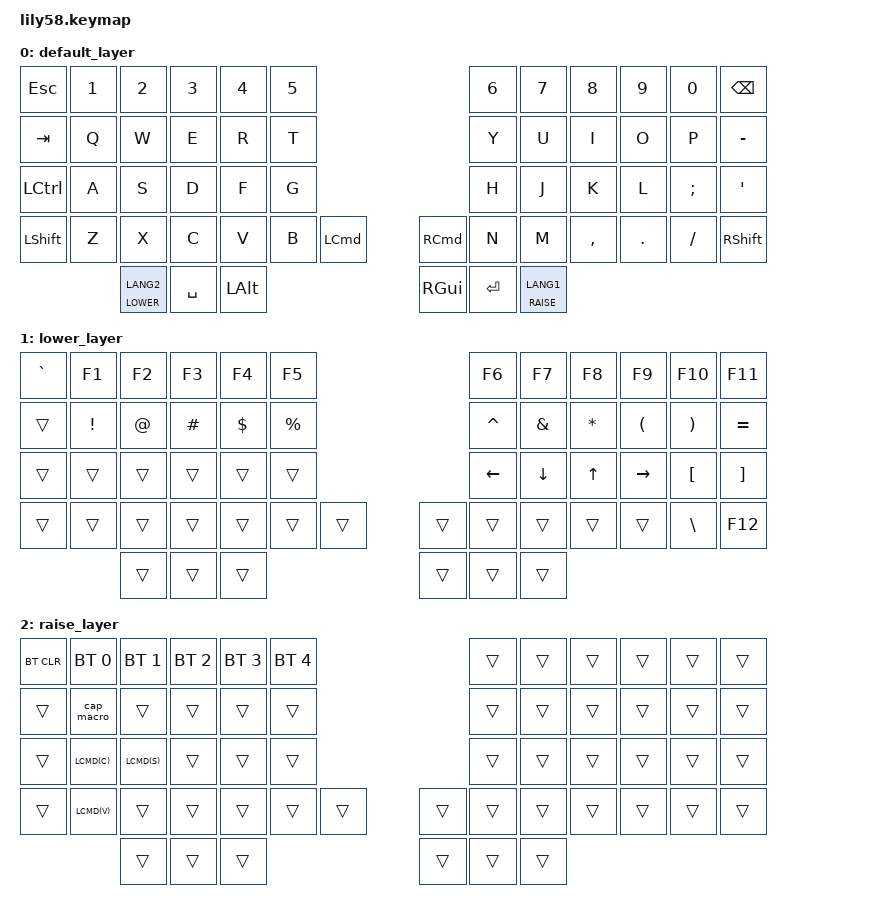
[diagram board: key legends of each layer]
/*
 * Copyright (c) 2026 The ZMK Contributors
 * SPDX-License-Identifier: MIT
 */

#include <behaviors.dtsi>
#include <dt-bindings/zmk/keys.h>
#include <dt-bindings/zmk/bt.h>

#define DEFAULT 0
#define LOWER   1
#define RAISE   2

/ {
    // 📸 マクロ：右親指(RAISE)＋Q で Macの「Ctrl + Cmd + Shift + 4」を発火
    macros {
        cap_macro: cap_macro {
            compatible = "zmk,behavior-macro";
            #binding-cells = <0>;
            bindings = <&macro_press &kp LCTRL &kp LCMD &kp LSHFT>,
                       <&macro_tap &kp N4>,
                       <&macro_release &kp LCTRL &kp LCMD &kp LSHFT>;
        };
    };

    keymap {
        compatible = "zmk,keymap";

        // 【0：通常の文字入力】
        default_layer {
            bindings = <
    &kp ESC   &kp N1 &kp N2 &kp N3 &kp N4 &kp N5                            &kp N6 &kp N7 &kp N8    &kp N9  &kp N0   &kp BSPC
    &kp TAB   &kp Q  &kp W  &kp E  &kp R  &kp T                             &kp Y  &kp U  &kp I     &kp O   &kp P    &kp MINUS
    &kp LCTRL &kp A  &kp S  &kp D  &kp F  &kp G                             &kp H  &kp J  &kp K     &kp L   &kp SEMI &kp SQT
    &kp LSHFT &kp Z  &kp X  &kp C  &kp V  &kp B  &kp LCMD        &kp RCMD   &kp N  &kp M  &kp COMMA &kp DOT &kp FSLH &kp RSHFT
                     &lt LOWER LANG2 &kp SPACE &kp LALT        &kp RGUI &kp ENTER &lt RAISE LANG1
            >;
        };

        // 【1：LOWER（長押しでJIS日本語の記号位置を再現するレイヤー）】
        lower_layer {
            bindings = <
    &kp GRAVE &kp F1    &kp F2    &kp F3    &kp F4    &kp F5                        &kp F6    &kp F7    &kp F8    &kp F9    &kp F10   &kp F11
    &trans    &kp EXCL  &kp AT    &kp HASH  &kp DLLR  &kp PRCNT                     &kp CARET &kp AMPS  &kp STAR  &kp LPAR  &kp RPAR  &kp EQUAL
    &trans    &trans    &trans    &trans    &trans    &trans                        &kp LEFT  &kp DOWN  &kp UP    &kp RIGHT &kp LBKT  &kp RBKT
    &trans    &trans    &trans    &trans    &trans    &trans    &trans      &trans  &trans    &trans    &trans    &trans    &kp BSLH  &kp F12
                                  &trans    &trans    &trans      &trans  &trans    &trans
            >;
        };

        // 【2：RAISE（長押しでマクロやコピペ、Bluetooth調整を行うレイヤー）】
        raise_layer {
            bindings = <
    &bt BT_CLR &bt BT_SEL 0 &bt BT_SEL 1 &bt BT_SEL 2 &bt BT_SEL 3 &bt BT_SEL 4                 &trans &trans &trans &trans &trans &trans
    &trans     &cap_macro   &trans       &trans       &trans       &trans                       &trans &trans &trans &trans &trans &trans
    &trans     &kp LCMD(C)  &kp LCMD(S)  &trans       &trans       &trans                       &trans &trans &trans &trans &trans &trans
    &trans     &kp LCMD(V)  &trans       &trans       &trans       &trans       &trans  &trans  &trans &trans &trans &trans &trans &trans
                                         &trans       &trans       &trans       &trans  &trans  &trans
            >;
        };
    };
};
